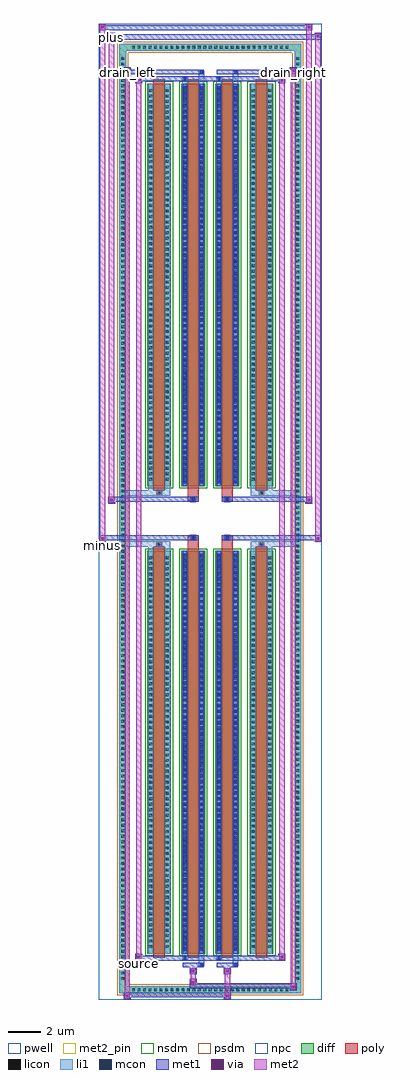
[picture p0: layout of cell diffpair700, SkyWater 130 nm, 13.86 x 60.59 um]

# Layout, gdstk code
import gdstk
lib = gdstk.Library(unit=1e-6, precision=5e-09)
def R(c, l, rs):  # rectangles x0, y0, x1, y1
    for r in rs: c.add(gdstk.rectangle(r[:2], r[2:], *l))
def A(c, l, x, y, w, h, nx, ny, dx, dy):  # array of equal rectangles
    R(c, l, [(x+i*dx, y+j*dy, x+i*dx+w, y+j*dy+h) for i in range(nx) for j in range(ny)])
def P(c, l, *ps):  # polygons
    for p in ps: c.add(gdstk.Polygon(p, *l))
pwell = (64, 44)
diff = (65, 20)
poly = (66, 20)
licon = (66, 44)
li1 = (67, 20)
mcon = (67, 44)
met1 = (68, 20)
via = (68, 44)
met2_pin = (69, 16)
met2 = (69, 20)
nsdm = (93, 44)
psdm = (94, 20)
npc = (95, 20)

diffpair700 = lib.new_cell('diffpair700')
R(diffpair700, pwell, [(-6.91,-29.86,6.91,30.73), (-4.23,-28.05,-0.01,-0.825), (0.01,-28.05,4.23,-0.825), (-4.23,0.825,-0.01,28.05), (0.01,0.825,4.23,28.05)])
A(diffpair700, diff, -4.965, -29.46, 0.41, 0.41, 29, 2, 0.34, 58.51)
A(diffpair700, diff, -5.64, -28.765, 0.41, 0.41, 1, 169, 0, 0.34)
A(diffpair700, diff, 5.23, -28.765, 0.41, 0.41, 1, 169, 0, 0.34)
A(diffpair700, diff, -3.92, -27.005, 1.48, 25, 4, 2, 2.12, 29.01)
R(diffpair700, diff, [(-4.965,-29.46,4.965,-29.05), (-5.64,-28.765,-5.23,28.765), (5.23,-28.765,5.64,28.765), (-4.965,29.05,4.965,29.46)])
P(diffpair700, diff, [(5.64,29.46),(-5.64,29.46),(-5.64,-29.05),(-5.23,-29.05),(-5.23,29.05),(5.23,29.05),(5.23,-29.05),(-5.23,-29.05),(-5.64,-29.05),(-5.64,-29.46),(5.64,-29.46)])
A(diffpair700, poly, -3.53, -27.255, 0.7, 25.5, 4, 2, 2.12, 29.01)
R(diffpair700, poly, [(-3.345,-1.755,-3.015,-1.425), (-3.345,-1.755,-3.015,-1.425), (-1.41,-1.755,-0.71,-1.355), (0.71,-1.755,1.41,-1.355), (3.015,-1.755,3.345,-1.425), (3.015,-1.755,3.345,-1.425), (-1.41,-1.355,-0.71,-1.025), (-1.225,-1.355,-0.895,-1.025), (0.71,-1.355,1.41,-1.025), (0.895,-1.355,1.225,-1.025), (-1.41,1.025,-0.71,1.355), (-1.225,1.025,-0.895,1.355), (0.71,1.025,1.41,1.355), (0.895,1.025,1.225,1.355), (-1.41,1.355,-0.71,1.755), (0.71,1.355,1.41,1.755), (-3.345,1.425,-3.015,1.755), (-3.345,1.425,-3.015,1.755), (3.015,1.425,3.345,1.755), (3.015,1.425,3.345,1.755)])
A(diffpair700, licon, -4.845, -29.34, 0.17, 0.17, 29, 2, 0.34, 58.51)
A(diffpair700, licon, -5.52, -28.645, 0.17, 0.17, 1, 169, 0, 0.34)
A(diffpair700, licon, 5.35, -28.645, 0.17, 0.17, 1, 169, 0, 0.34)
A(diffpair700, licon, -3.78, -26.66, 0.17, 0.17, 1, 72, 0, 0.34)
A(diffpair700, licon, -2.75, -26.66, 0.17, 0.17, 1, 72, 0, 0.34)
A(diffpair700, licon, -1.66, -26.66, 0.17, 0.17, 1, 72, 0, 0.34)
A(diffpair700, licon, -0.63, -26.66, 0.17, 0.17, 1, 72, 0, 0.34)
A(diffpair700, licon, 0.46, -26.66, 0.17, 0.17, 1, 72, 0, 0.34)
A(diffpair700, licon, 1.49, -26.66, 0.17, 0.17, 1, 72, 0, 0.34)
A(diffpair700, licon, 2.58, -26.66, 0.17, 0.17, 1, 72, 0, 0.34)
A(diffpair700, licon, 3.61, -26.66, 0.17, 0.17, 1, 72, 0, 0.34)
A(diffpair700, licon, -3.78, 2.35, 0.17, 0.17, 1, 72, 0, 0.34)
A(diffpair700, licon, -2.75, 2.35, 0.17, 0.17, 1, 72, 0, 0.34)
A(diffpair700, licon, -1.66, 2.35, 0.17, 0.17, 1, 72, 0, 0.34)
A(diffpair700, licon, -0.63, 2.35, 0.17, 0.17, 1, 72, 0, 0.34)
A(diffpair700, licon, 0.46, 2.35, 0.17, 0.17, 1, 72, 0, 0.34)
A(diffpair700, licon, 1.49, 2.35, 0.17, 0.17, 1, 72, 0, 0.34)
A(diffpair700, licon, 2.58, 2.35, 0.17, 0.17, 1, 72, 0, 0.34)
A(diffpair700, licon, 3.61, 2.35, 0.17, 0.17, 1, 72, 0, 0.34)
R(diffpair700, licon, [(-3.265,-1.675,-3.095,-1.505), (3.095,-1.675,3.265,-1.505), (-1.145,-1.275,-0.975,-1.105), (0.975,-1.275,1.145,-1.105), (-1.145,1.105,-0.975,1.275), (0.975,1.105,1.145,1.275), (-3.265,1.505,-3.095,1.675), (3.095,1.505,3.265,1.675)])
A(diffpair700, li1, -4.925, -29.42, 0.33, 0.33, 29, 2, 0.34, 58.51)
A(diffpair700, li1, -5.6, -28.725, 0.33, 0.33, 1, 169, 0, 0.34)
A(diffpair700, li1, 5.27, -28.725, 0.33, 0.33, 1, 169, 0, 0.34)
A(diffpair700, li1, -1.66, -26.83, 0.17, 0.17, 1, 69, 0, 0.36)
A(diffpair700, li1, -0.63, -26.83, 0.17, 0.17, 1, 69, 0, 0.36)
A(diffpair700, li1, 0.46, -26.83, 0.17, 0.17, 1, 69, 0, 0.36)
A(diffpair700, li1, 1.49, -26.83, 0.17, 0.17, 1, 69, 0, 0.36)
A(diffpair700, li1, -3.86, -26.74, 0.33, 0.33, 1, 72, 0, 0.34)
A(diffpair700, li1, -2.83, -26.74, 0.33, 0.33, 1, 72, 0, 0.34)
A(diffpair700, li1, -1.74, -26.74, 0.33, 0.33, 1, 72, 0, 0.34)
A(diffpair700, li1, -0.71, -26.74, 0.33, 0.33, 1, 72, 0, 0.34)
A(diffpair700, li1, 0.38, -26.74, 0.33, 0.33, 1, 72, 0, 0.34)
A(diffpair700, li1, 1.41, -26.74, 0.33, 0.33, 1, 72, 0, 0.34)
A(diffpair700, li1, 2.5, -26.74, 0.33, 0.33, 1, 72, 0, 0.34)
A(diffpair700, li1, 3.53, -26.74, 0.33, 0.33, 1, 72, 0, 0.34)
A(diffpair700, li1, -1.66, 2.18, 0.17, 0.17, 1, 69, 0, 0.36)
A(diffpair700, li1, -0.63, 2.18, 0.17, 0.17, 1, 69, 0, 0.36)
A(diffpair700, li1, 0.46, 2.18, 0.17, 0.17, 1, 69, 0, 0.36)
A(diffpair700, li1, 1.49, 2.18, 0.17, 0.17, 1, 69, 0, 0.36)
A(diffpair700, li1, -3.86, 2.27, 0.33, 0.33, 1, 72, 0, 0.34)
A(diffpair700, li1, -2.83, 2.27, 0.33, 0.33, 1, 72, 0, 0.34)
A(diffpair700, li1, -1.74, 2.27, 0.33, 0.33, 1, 72, 0, 0.34)
A(diffpair700, li1, -0.71, 2.27, 0.33, 0.33, 1, 72, 0, 0.34)
A(diffpair700, li1, 0.38, 2.27, 0.33, 0.33, 1, 72, 0, 0.34)
A(diffpair700, li1, 1.41, 2.27, 0.33, 0.33, 1, 72, 0, 0.34)
A(diffpair700, li1, 2.5, 2.27, 0.33, 0.33, 1, 72, 0, 0.34)
A(diffpair700, li1, 3.53, 2.27, 0.33, 0.33, 1, 72, 0, 0.34)
R(diffpair700, li1, [(-5.64,-29.46,-5.23,-29.05), (-5.64,-29.46,-5.23,-29.05), (-5.23,-29.46,5.23,-29.05), (5.23,-29.46,5.64,-29.05), (5.23,-29.46,5.64,-29.05), (-5.64,-29.05,-5.23,29.05), (5.23,-29.05,5.64,29.05), (-0.71,-27.81,-0.38,-27.005), (-0.63,-27.81,-0.46,-27.64), (1.41,-27.81,1.74,-27.005), (1.49,-27.81,1.66,-27.64), (-1.74,-27.38,-1.41,-27.005), (-1.66,-27.38,-1.49,-27.21), (0.38,-27.38,0.71,-27.005), (0.46,-27.38,0.63,-27.21), (-3.86,-27.005,-3.53,-2.005), (-2.83,-27.005,-2.5,-2.005), (-1.74,-27.005,-1.41,-2.005), (-0.71,-27.005,-0.38,-2.005), (0.38,-27.005,0.71,-2.005), (1.41,-27.005,1.74,-2.005), (2.5,-27.005,2.83,-2.005), (3.53,-27.005,3.86,-2.005), (-1.66,-26.83,-1.49,-2.18), (-0.63,-26.83,-0.46,-2.18), (0.46,-26.83,0.63,-2.18), (1.49,-26.83,1.66,-2.18), (-3.86,-2.005,-3.53,-1.425), (-2.83,-2.005,-2.5,-1.425), (2.5,-2.005,2.83,-1.425), (3.53,-2.005,3.86,-1.425), (-5.64,-1.755,-3.345,-1.425), (-3.86,-1.755,-3.345,-1.425), (-3.345,-1.755,-3.015,-1.425), (-3.015,-1.755,-2.5,-1.425), (2.5,-1.755,3.015,-1.425), (3.015,-1.755,3.345,-1.425), (3.015,-1.755,5.64,-1.425), (3.345,-1.755,3.86,-1.425), (-1.225,-1.355,-0.895,-1.025), (0.895,-1.355,1.225,-1.025), (-1.225,1.025,-0.895,1.355), (0.895,1.025,1.225,1.355), (-5.64,1.425,-3.345,1.755), (-3.86,1.425,-3.345,1.755), (-3.86,1.425,-3.53,2.005), (-3.345,1.425,-3.015,1.755), (-3.015,1.425,-2.5,1.755), (-2.83,1.425,-2.5,2.005), (2.5,1.425,3.015,1.755), (2.5,1.425,2.83,2.005), (3.015,1.425,3.345,1.755), (3.015,1.425,5.64,1.755), (3.345,1.425,3.86,1.755), (3.53,1.425,3.86,2.005), (-3.86,2.005,-3.53,27.005), (-2.83,2.005,-2.5,27.005), (-1.74,2.005,-1.41,27.005), (-0.71,2.005,-0.38,27.005), (0.38,2.005,0.71,27.005), (1.41,2.005,1.74,27.005), (2.5,2.005,2.83,27.005), (3.53,2.005,3.86,27.005), (-1.66,2.18,-1.49,26.83), (-0.63,2.18,-0.46,26.83), (0.46,2.18,0.63,26.83), (1.49,2.18,1.66,26.83), (-1.74,27.005,-1.41,27.38), (-0.71,27.005,-0.38,27.81), (0.38,27.005,0.71,27.38), (1.41,27.005,1.74,27.81), (-1.66,27.21,-1.49,27.38), (0.46,27.21,0.63,27.38), (-0.63,27.64,-0.46,27.81), (1.49,27.64,1.66,27.81), (-5.64,29.05,-5.23,29.46), (-5.64,29.05,-5.23,29.46), (-5.23,29.05,5.23,29.46), (5.23,29.05,5.64,29.46), (5.23,29.05,5.64,29.46)])
A(diffpair700, mcon, -1.66, -26.83, 0.17, 0.17, 1, 69, 0, 0.36)
A(diffpair700, mcon, -0.63, -26.83, 0.17, 0.17, 1, 69, 0, 0.36)
A(diffpair700, mcon, 0.46, -26.83, 0.17, 0.17, 1, 69, 0, 0.36)
A(diffpair700, mcon, 1.49, -26.83, 0.17, 0.17, 1, 69, 0, 0.36)
A(diffpair700, mcon, -1.66, 2.18, 0.17, 0.17, 1, 69, 0, 0.36)
A(diffpair700, mcon, -0.63, 2.18, 0.17, 0.17, 1, 69, 0, 0.36)
A(diffpair700, mcon, 0.46, 2.18, 0.17, 0.17, 1, 69, 0, 0.36)
A(diffpair700, mcon, 1.49, 2.18, 0.17, 0.17, 1, 69, 0, 0.36)
R(diffpair700, mcon, [(-0.63,-27.81,-0.46,-27.64), (1.49,-27.81,1.66,-27.64), (-1.66,-27.38,-1.49,-27.21), (0.46,-27.38,0.63,-27.21), (-1.145,-1.275,-0.975,-1.105), (0.975,-1.275,1.145,-1.105), (-1.145,1.105,-0.975,1.275), (0.975,1.105,1.145,1.275), (-1.66,27.21,-1.49,27.38), (0.46,27.21,0.63,27.38), (-0.63,27.64,-0.46,27.81), (1.49,27.64,1.66,27.81)])
A(diffpair700, met1, -1.72, -26.89, 0.29, 0.29, 1, 69, 0, 0.36)
A(diffpair700, met1, -0.69, -26.89, 0.29, 0.29, 1, 69, 0, 0.36)
A(diffpair700, met1, 0.4, -26.89, 0.29, 0.29, 1, 69, 0, 0.36)
A(diffpair700, met1, 1.43, -26.89, 0.29, 0.29, 1, 69, 0, 0.36)
A(diffpair700, met1, -1.72, 2.12, 0.29, 0.29, 1, 69, 0, 0.36)
A(diffpair700, met1, -0.69, 2.12, 0.29, 0.29, 1, 69, 0, 0.36)
A(diffpair700, met1, 0.4, 2.12, 0.29, 0.29, 1, 69, 0, 0.36)
A(diffpair700, met1, 1.43, 2.12, 0.29, 0.29, 1, 69, 0, 0.36)
R(diffpair700, met1, [(-5.37,-29.86,-4.94,-29.43), (0.845,-29.86,1.275,-29.43), (-5.37,-29.72,1.275,-29.43), (4.94,-29.29,5.37,-28.86), (-1.275,-29.15,5.37,-28.86), (-1.275,-29.01,-0.845,-28.58), (-1.275,-28.3,-0.845,-27.87), (0.845,-28.3,1.275,-27.87), (-1.72,-27.87,-0.4,-27.58), (-0.69,-27.87,-0.4,-27.58), (0.4,-27.87,1.72,-27.58), (1.43,-27.87,1.72,-27.58), (-4.66,-27.44,-4.23,-27.01), (-4.66,-27.44,-1.72,-27.15), (-1.72,-27.44,-1.43,-27.15), (-1.72,-27.44,-0.4,-27.15), (-0.4,-27.44,0.4,-27.15), (0.4,-27.44,0.69,-27.15), (0.4,-27.44,1.72,-27.15), (1.72,-27.44,4.66,-27.15), (4.23,-27.44,4.66,-27.01), (-1.72,-27.005,-1.43,-2.005), (-0.69,-27.005,-0.4,-2.005), (0.4,-27.005,0.69,-2.005), (1.43,-27.005,1.72,-2.005), (-6.91,-1.455,-6.48,-1.025), (6.48,-1.455,6.91,-1.025), (-6.91,-1.355,-0.71,-1.025), (-1.41,-1.355,-0.71,-1.025), (0.71,-1.355,1.41,-1.025), (0.71,-1.355,6.91,-1.025), (-1.205,-1.335,-0.915,-1.045), (0.915,-1.335,1.205,-1.045), (-6.34,0.925,-5.91,1.355), (5.91,0.925,6.34,1.355), (-6.34,1.025,-1.41,1.355), (-1.41,1.025,-0.71,1.355), (0.71,1.025,1.41,1.355), (1.41,1.025,6.34,1.355), (-1.205,1.045,-0.915,1.335), (0.915,1.045,1.205,1.335), (-1.72,2.005,-1.43,27.005), (-0.69,2.005,-0.4,27.005), (0.4,2.005,0.69,27.005), (1.43,2.005,1.72,27.005), (-4.66,27.01,-4.23,27.44), (4.23,27.01,4.66,27.44), (-4.66,27.15,-1.72,27.44), (-1.72,27.15,-1.43,27.44), (-1.72,27.15,-0.4,27.44), (-0.4,27.15,0.4,27.44), (0.4,27.15,0.69,27.44), (0.4,27.15,1.72,27.44), (1.72,27.15,4.66,27.44), (-5.37,27.58,-4.94,28.01), (-5.37,27.58,-1.72,27.87), (-1.72,27.58,-0.4,27.87), (-0.69,27.58,-0.4,27.87), (0.4,27.58,1.72,27.87), (1.43,27.58,1.72,27.87), (1.72,27.58,5.37,27.87), (4.94,27.58,5.37,28.01), (-6.34,29.73,-5.91,30.16), (-6.34,29.73,-4.23,30.06), (-4.23,29.73,4.23,30.06), (4.23,29.73,6.91,30.06), (6.48,29.73,6.91,30.16), (-6.91,30.3,-6.48,30.73), (-6.91,30.3,-4.23,30.63), (-4.23,30.3,4.23,30.63), (4.23,30.3,6.34,30.63), (5.91,30.3,6.34,30.73)])
R(diffpair700, via, [(-5.23,-29.72,-5.08,-29.57), (0.985,-29.72,1.135,-29.57), (5.08,-29.15,5.23,-29), (-1.135,-28.87,-0.985,-28.72), (-1.135,-28.16,-0.985,-28.01), (0.985,-28.16,1.135,-28.01), (-4.52,-27.3,-4.37,-27.15), (4.37,-27.3,4.52,-27.15), (-6.77,-1.315,-6.62,-1.165), (6.62,-1.315,6.77,-1.165), (-6.2,1.065,-6.05,1.215), (6.05,1.065,6.2,1.215), (-4.52,27.15,-4.37,27.3), (4.37,27.15,4.52,27.3), (-5.23,27.72,-5.08,27.87), (5.08,27.72,5.23,27.87), (-6.2,29.87,-6.05,30.02), (6.62,29.87,6.77,30.02), (-6.77,30.44,-6.62,30.59), (6.05,30.44,6.2,30.59)])
R(diffpair700, met2_pin, [(-4.695,-27.89,-4.195,-27.39), (-6.945,-1.905,-6.445,-1.405), (-5.405,27.46,-4.905,27.96), (4.905,27.46,5.405,27.96), (-6.375,29.61,-5.875,30.11)])
R(diffpair700, met2, [(-5.32,-29.81,-4.99,-29.48), (-5.32,-29.81,-4.99,27.96), (0.895,-29.81,1.225,-29.48), (0.895,-29.48,1.225,-28.25), (4.99,-29.24,5.32,-28.91), (4.99,-29.24,5.32,27.96), (-1.225,-28.96,-0.895,-28.63), (-1.225,-28.63,-0.895,-28.25), (-1.225,-28.25,-0.895,-27.92), (0.895,-28.25,1.225,-27.92), (-4.61,-27.39,-4.28,-27.06), (-4.61,-27.39,-4.28,27.39), (4.28,-27.39,4.61,-27.06), (4.28,-27.39,4.61,27.39), (-6.86,-1.405,-6.53,-1.075), (-6.86,-1.405,-6.53,30.68), (6.53,-1.405,6.86,-1.075), (6.53,-1.405,6.86,30.11), (-6.29,0.975,-5.96,1.305), (-6.29,0.975,-5.96,30.11), (5.96,0.975,6.29,1.305), (5.96,0.975,6.29,30.68), (-4.61,27.06,-4.28,27.39), (4.28,27.06,4.61,27.39), (-5.32,27.63,-4.99,27.96), (4.99,27.63,5.32,27.96), (-6.29,29.78,-5.96,30.11), (6.53,29.78,6.86,30.11), (-6.86,30.35,-6.53,30.68), (5.96,30.35,6.29,30.68)])
P(diffpair700, met2, [(6.86,-1.405),(6.86,-1.405),(6.86,-1.075),(6.86,-1.075)],
  [(6.86,29.78),(6.86,29.78),(6.86,30.11),(6.86,30.11)],
  [(-6.53,-1.405),(-6.53,-1.405),(-6.53,-1.075),(-6.53,-1.075)],
  [(-6.53,30.35),(-6.53,30.35),(-6.53,30.68),(-6.53,30.68)],
  [(6.29,0.975),(6.29,0.975),(6.29,1.305),(6.29,1.305)],
  [(6.29,30.35),(6.29,30.35),(6.29,30.68),(6.29,30.68)],
  [(-5.96,0.975),(-5.96,0.975),(-5.96,1.305),(-5.96,1.305)],
  [(-5.96,29.78),(-5.96,29.78),(-5.96,30.11),(-5.96,30.11)],
  [(-4.99,-29.81),(-4.99,-29.81),(-4.99,-29.48),(-4.99,-29.48)],
  [(-4.99,27.63),(-4.99,27.63),(-4.99,27.96),(-4.99,27.96)],
  [(5.32,-29.24),(5.32,-29.24),(5.32,-28.91),(5.32,-28.91)],
  [(5.32,27.63),(5.32,27.63),(5.32,27.96),(5.32,27.96)],
  [(-4.28,-27.39),(-4.28,-27.39),(-4.28,-27.06),(-4.28,-27.06)],
  [(-4.28,27.06),(-4.28,27.06),(-4.28,27.39),(-4.28,27.39)],
  [(4.61,-27.39),(4.61,-27.39),(4.61,-27.06),(4.61,-27.06)],
  [(4.61,27.06),(4.61,27.06),(4.61,27.39),(4.61,27.39)])
A(diffpair700, nsdm, -4.05, -27.135, 1.74, 25.26, 4, 2, 2.12, 29.01)
P(diffpair700, psdm, [(5.77,29.59),(-5.77,29.59),(-5.77,-28.92),(-5.1,-28.92),(-5.1,28.92),(5.1,28.92),(5.1,-28.92),(-5.1,-28.92),(-5.77,-28.92),(-5.77,-29.59),(5.77,-29.59)])
R(diffpair700, npc, [(-3.365,-1.775,-2.995,-1.405), (2.995,-1.775,3.365,-1.405), (-1.245,-1.375,-0.875,-1.005), (0.875,-1.375,1.245,-1.005), (-1.245,1.005,-0.875,1.375), (0.875,1.005,1.245,1.375), (-3.365,1.405,-2.995,1.775), (2.995,1.405,3.365,1.775)])
diffpair700.add(gdstk.Label('minus', (-6.695,-1.655), layer=69, texttype=5))
diffpair700.add(gdstk.Label('drain_right', (5.155,27.71), layer=69, texttype=5))
diffpair700.add(gdstk.Label('drain_left', (-5.155,27.71), layer=69, texttype=5))
diffpair700.add(gdstk.Label('source', (-4.445,-27.64), layer=69, texttype=5))
diffpair700.add(gdstk.Label('plus', (-6.125,29.86), layer=69, texttype=5))

lib.write_gds('diffpair700.gds')
